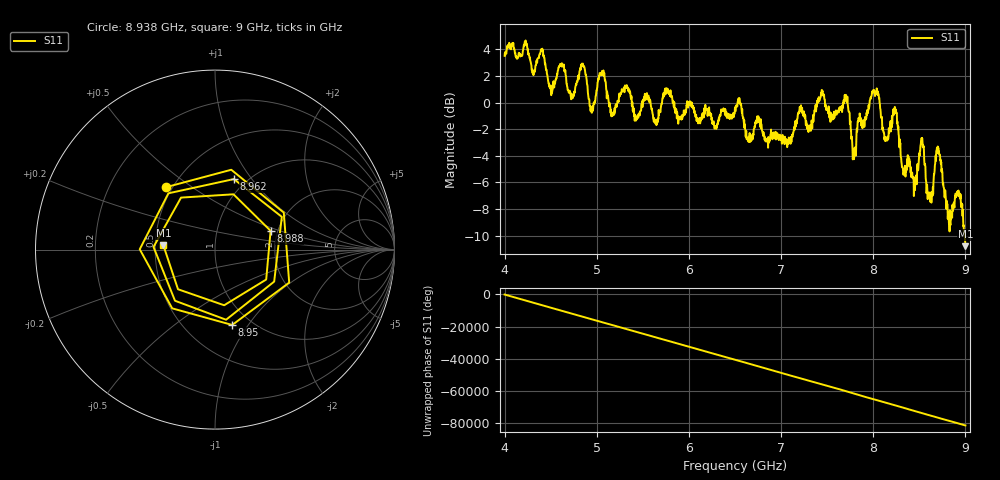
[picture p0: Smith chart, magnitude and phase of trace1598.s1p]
! Created with skrf 1.8.0 (http://scikit-rf.org).
# Hz S RI R 50.0
!freq ReS11 ImS11
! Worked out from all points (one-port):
!   1601 points, 4 GHz to 9 GHz, reference 50 ohm
!   lowest |S11| = -10.8 dB at 9 GHz (marker M1), VSWR 1.81, Z = 27.6 + j1.45 ohm
!   |S11| at or under -10 dB: 8.99363 GHz to end of sweep
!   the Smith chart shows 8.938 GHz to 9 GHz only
!   S11 on the Smith chart (normalised r, x): 8.938 GHz: 0.46, +0.40; 8.95 GHz: 0.82, -0.84; 8.962 GHz: 0.87, +0.82; 8.988 GHz: 1.83, +0.43; 9 GHz: 0.55, +0.03
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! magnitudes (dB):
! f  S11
! 4 GHz  3.5
! 4.406 GHz  4.0
! 4.5 GHz  1.3
! 4.625 GHz  2.9
! 4.734 GHz  0.3
! 4.853 GHz  2.7
! 4.947 GHz  -0.8
! 5.05 GHz  2.1
! 5.166 GHz  -1.0
! 5.25 GHz  0.5
! 5.875 GHz  -1.0
! 6.5 GHz  -0.4
! 7.125 GHz  -2.5
! 7.444 GHz  0.9
! 7.75 GHz  -1.5
! 7.794 GHz  -4.0
! 8.034 GHz  0.7
! 8.375 GHz  -4.0
! 8.45 GHz  -5.7
! 8.525 GHz  -2.7
! 8.616 GHz  -6.7
! 8.703 GHz  -3.8
! 8.831 GHz  -8.1
! 8.938 GHz  -7.1
! 8.95 GHz  -7.3
! 8.962 GHz  -7.8
! 8.988 GHz  -9.7
! 9 GHz  -10.8
